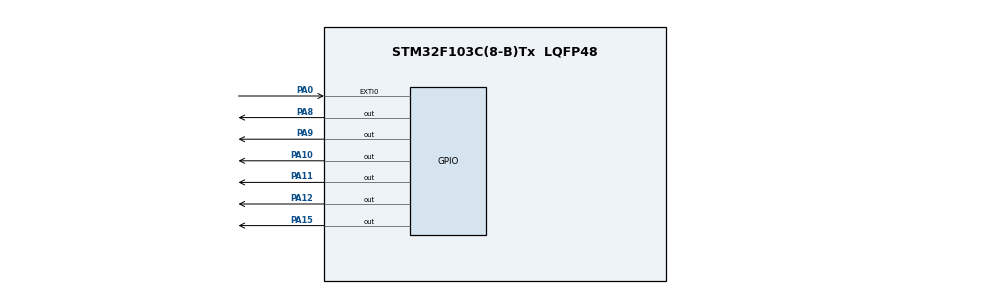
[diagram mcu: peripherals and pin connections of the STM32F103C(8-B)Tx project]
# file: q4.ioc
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Mcu.Family=STM32F1
Mcu.Name=STM32F103C(8-B)Tx
Mcu.Package=LQFP48
NVIC.EXTI0_IRQn=true\:0\:0\:false\:false\:true\:true\:true\:true
NVIC.PriorityGroup=NVIC_PRIORITYGROUP_4
PA0-WKUP.GPIO_ModeDefaultEXTI=GPIO_MODE_IT_RISING
PA0-WKUP.Signal=GPXTI0
PA10.Signal=GPIO_Output
PA11.Signal=GPIO_Output
PA12.Signal=GPIO_Output
PA13.Mode=Serial_Wire
PA13.Signal=SYS_JTMS-SWDIO
PA14.Mode=Serial_Wire
PA14.Signal=SYS_JTCK-SWCLK
PA15.Signal=GPIO_Output
PA8.Signal=GPIO_Output
PA9.Signal=GPIO_Output
ProjectManager.HeapSize=0x200
ProjectManager.StackSize=0x400
ProjectManager.TargetToolchain=STM32CubeIDE
RCC.APB1Freq_Value=8000000
RCC.APB2Freq_Value=8000000
board=custom

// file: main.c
/* USER CODE BEGIN Header */
/**
  ******************************************************************************
  * @file           : main.c
  * @brief          : Main program body
  ******************************************************************************
  * @attention
  *
  * Copyright (c) 2026 STMicroelectronics.
  * All rights reserved.
  *
  * This software is licensed under terms that can be found in the LICENSE file
  * in the root directory of this software component.
  * If no LICENSE file comes with this software, it is provided AS-IS.
  *
  ******************************************************************************
  */
/* USER CODE END Header */
#include "main.h"

/* USER CODE BEGIN Includes */
#include "lcd.h"
#include <stdio.h>
/* USER CODE END Includes */

/* USER CODE BEGIN PV */
volatile uint32_t pulse_count = 0;

uint32_t current_frequency = 0;
float flow_rate_Lmin = 0.0;
uint32_t last_time = 0;
char lcd_buffer[16];

Lcd_HandleTypeDef hlcd;
/* USER CODE END PV */

void SystemClock_Config(void);
static void MX_GPIO_Init(void);

/* USER CODE BEGIN 0 */
void HAL_GPIO_EXTI_Callback(uint16_t GPIO_Pin)
{
    if(GPIO_Pin == GPIO_PIN_0) // If the interrupt came from PA0
    {
        pulse_count++; // Increment the pulse counter
    }
}
/* USER CODE END 0 */

int main(void)
{

  /* MCU Configuration--------------------------------------------------------*/

  /* Reset of all peripherals, Initializes the Flash interface and the Systick. */
  HAL_Init();

  /* Configure the system clock */
  SystemClock_Config();

  /* Initialize all configured peripherals */
  MX_GPIO_Init();
  /* USER CODE BEGIN 2 */
  Lcd_PortType ports[] = {GPIOA, GPIOA, GPIOA, GPIOA};
    Lcd_PinType pins[] = {GPIO_PIN_10, GPIO_PIN_11, GPIO_PIN_12, GPIO_PIN_15};
    hlcd = Lcd_create(ports, pins, GPIOA, GPIO_PIN_8, GPIOA, GPIO_PIN_9, LCD_4_BIT_MODE);

    Lcd_clear(&hlcd);
    Lcd_cursor(&hlcd, 0, 0);
    Lcd_string(&hlcd, "Flow Sensor Init");
    HAL_Delay(1000);

    last_time = HAL_GetTick();
  /* USER CODE END 2 */

  /* Infinite loop */
  /* USER CODE BEGIN WHILE */
    while (1)
      {
          // Check if exactly 1000 milliseconds (1 second) has passed
          if (HAL_GetTick() - last_time >= 1000)
          {
              // 1. Calculate Frequency
              // (Number of pulses in 1 second is exactly the frequency in Hz)
              // Disable interrupts temporarily to safely read and reset the counter
              __disable_irq();
              current_frequency = pulse_count;
              pulse_count = 0; // Reset counter for the next second
              __enable_irq();

              // 2. Update the timestamp
              last_time = HAL_GetTick();

              // 3. Calculate Flow Rate using Q = f / 7.5
              flow_rate_Lmin = (float)current_frequency / 7.5f;

              // 4. Update the LCD
              Lcd_clear(&hlcd);

              // Print Frequency (f)
              sprintf(lcd_buffer, "Freq: %lu Hz", current_frequency);
              Lcd_cursor(&hlcd, 0, 0);
              Lcd_string(&hlcd, lcd_buffer);

              // Print Flow Rate (Q)
              sprintf(lcd_buffer, "Flow: %.2f L/m", flow_rate_Lmin);
              Lcd_cursor(&hlcd, 1, 0);
              Lcd_string(&hlcd, lcd_buffer);
          }
    /* USER CODE END WHILE */

  }
}

void SystemClock_Config(void)
{
  RCC_OscInitTypeDef RCC_OscInitStruct = {0};
  RCC_ClkInitTypeDef RCC_ClkInitStruct = {0};

  /** Initializes the RCC Oscillators according to the specified parameters
  * in the RCC_OscInitTypeDef structure.
  */
  RCC_OscInitStruct.OscillatorType = RCC_OSCILLATORTYPE_HSI;
  RCC_OscInitStruct.HSIState = RCC_HSI_ON;
  RCC_OscInitStruct.HSICalibrationValue = RCC_HSICALIBRATION_DEFAULT;
  RCC_OscInitStruct.PLL.PLLState = RCC_PLL_NONE;
  if (HAL_RCC_OscConfig(&RCC_OscInitStruct) != HAL_OK)
  {
    Error_Handler();
  }

  /** Initializes the CPU, AHB and APB buses clocks
  */
  RCC_ClkInitStruct.ClockType = RCC_CLOCKTYPE_HCLK|RCC_CLOCKTYPE_SYSCLK
                              |RCC_CLOCKTYPE_PCLK1|RCC_CLOCKTYPE_PCLK2;
  RCC_ClkInitStruct.SYSCLKSource = RCC_SYSCLKSOURCE_HSI;
  RCC_ClkInitStruct.AHBCLKDivider = RCC_SYSCLK_DIV1;
  RCC_ClkInitStruct.APB1CLKDivider = RCC_HCLK_DIV1;
  RCC_ClkInitStruct.APB2CLKDivider = RCC_HCLK_DIV1;

  if (HAL_RCC_ClockConfig(&RCC_ClkInitStruct, FLASH_LATENCY_0) != HAL_OK)
  {
    Error_Handler();
  }
}

static void MX_GPIO_Init(void)
{
  GPIO_InitTypeDef GPIO_InitStruct = {0};

  /* GPIO Ports Clock Enable */
  __HAL_RCC_GPIOA_CLK_ENABLE();

  /*Configure GPIO pin Output Level */
  HAL_GPIO_WritePin(GPIOA, GPIO_PIN_8|GPIO_PIN_9|GPIO_PIN_10|GPIO_PIN_11
                          |GPIO_PIN_12|GPIO_PIN_15, GPIO_PIN_RESET);

  /*Configure GPIO pin : PA0 */
  GPIO_InitStruct.Pin = GPIO_PIN_0;
  GPIO_InitStruct.Mode = GPIO_MODE_IT_RISING;
  GPIO_InitStruct.Pull = GPIO_NOPULL;
  HAL_GPIO_Init(GPIOA, &GPIO_InitStruct);

  /*Configure GPIO pins : PA8 PA9 PA10 PA11
                           PA12 PA15 */
  GPIO_InitStruct.Pin = GPIO_PIN_8|GPIO_PIN_9|GPIO_PIN_10|GPIO_PIN_11
                          |GPIO_PIN_12|GPIO_PIN_15;
  GPIO_InitStruct.Mode = GPIO_MODE_OUTPUT_PP;
  GPIO_InitStruct.Pull = GPIO_NOPULL;
  GPIO_InitStruct.Speed = GPIO_SPEED_FREQ_LOW;
  HAL_GPIO_Init(GPIOA, &GPIO_InitStruct);

  /* EXTI interrupt init*/
  HAL_NVIC_SetPriority(EXTI0_IRQn, 0, 0);
  HAL_NVIC_EnableIRQ(EXTI0_IRQn);

}

void Error_Handler(void)
{
  __disable_irq();
  while (1)
  {
  }
}
